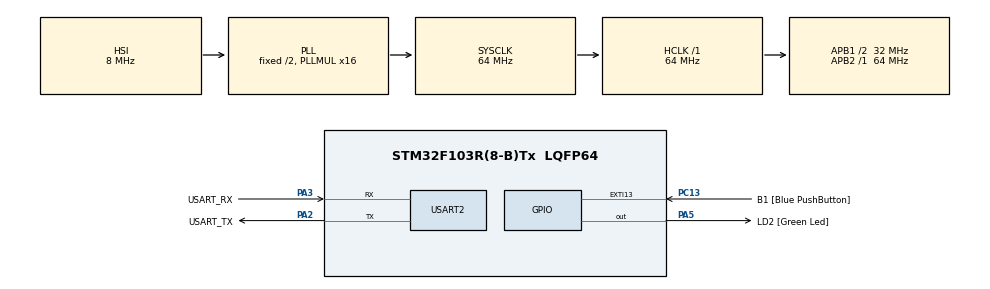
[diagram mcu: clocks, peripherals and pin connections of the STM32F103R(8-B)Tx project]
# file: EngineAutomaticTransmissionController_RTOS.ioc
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FREERTOS.Tasks01=defaultTask,-3,128,StartDefaultTask,Default,NULL,Dynamic,NULL,NULL
FREERTOS.configUSE_NEWLIB_REENTRANT=1
Mcu.Family=STM32F1
Mcu.Name=STM32F103R(8-B)Tx
Mcu.Package=LQFP64
NVIC.EXTI15_10_IRQn=true\:5\:0\:false\:false\:true\:true\:true\:true\:true
NVIC.PriorityGroup=NVIC_PRIORITYGROUP_4
NVIC.TIM4_IRQn=true\:15\:0\:false\:false\:true\:false\:false\:true\:true
NVIC.TimeBase=TIM4_IRQn
NVIC.TimeBaseIP=TIM4
PA13.GPIO_Label=TMS
PA13.Mode=Serial_Wire
PA13.Signal=SYS_JTMS-SWDIO
PA14.GPIO_Label=TCK
PA14.Mode=Serial_Wire
PA14.Signal=SYS_JTCK-SWCLK
PA2.GPIO_Label=USART_TX
PA2.GPIO_Mode=GPIO_MODE_AF_PP
PA2.GPIO_PuPd=GPIO_NOPULL
PA2.GPIO_Speed=GPIO_SPEED_FREQ_LOW
PA2.Mode=Asynchronous
PA2.Signal=USART2_TX
PA3.GPIO_Label=USART_RX
PA3.GPIO_Mode=GPIO_MODE_AF_PP
PA3.GPIO_PuPd=GPIO_NOPULL
PA3.GPIO_Speed=GPIO_SPEED_FREQ_LOW
PA3.Mode=Asynchronous
PA3.Signal=USART2_RX
PA5.GPIO_Label=LD2 [Green Led]
PA5.GPIO_ModeDefaultOutputPP=GPIO_MODE_OUTPUT_PP
PA5.GPIO_PuPd=GPIO_NOPULL
PA5.GPIO_Speed=GPIO_SPEED_FREQ_LOW
PA5.Signal=GPIO_Output
PB3.GPIO_Label=SWO
PB3.Signal=SYS_JTDO-TRACESWO
PC13-TAMPER-RTC.GPIO_Label=B1 [Blue PushButton]
PC13-TAMPER-RTC.GPIO_PuPd=GPIO_NOPULL
PC13-TAMPER-RTC.Signal=GPXTI13
PC14-OSC32_IN.Mode=LSE-External-Oscillator
PC14-OSC32_IN.Signal=RCC_OSC32_IN
PC15-OSC32_OUT.Mode=LSE-External-Oscillator
PC15-OSC32_OUT.Signal=RCC_OSC32_OUT
PD0-OSC_IN.Mode=HSE-External-Clock-Source
PD0-OSC_IN.Signal=RCC_OSC_IN
PD1-OSC_OUT.Mode=HSE-External-Clock-Source
PD1-OSC_OUT.Signal=RCC_OSC_OUT
ProjectManager.HeapSize=0x200
ProjectManager.StackSize=0x400
ProjectManager.TargetToolchain=STM32CubeIDE
RCC.AHBFreq_Value=64000000
RCC.APB1CLKDivider=RCC_HCLK_DIV2
RCC.APB1Freq_Value=32000000
RCC.APB1TimFreq_Value=64000000
RCC.APB2Freq_Value=64000000
RCC.APB2TimFreq_Value=64000000
RCC.HCLKFreq_Value=64000000
RCC.PLLMUL=RCC_PLL_MUL16
RCC.RTCClockSelection=RCC_RTCCLKSOURCE_LSE
RCC.SYSCLKFreq_VALUE=64000000
RCC.SYSCLKSource=RCC_SYSCLKSOURCE_PLLCLK
RCC.USBFreq_Value=64000000
USART2.VirtualMode=VM_ASYNC
VP_FREERTOS_VS_CMSIS_V1.Mode=CMSIS_V1
VP_SYS_VS_tim4.Mode=TIM4
board=NUCLEO-F103RB

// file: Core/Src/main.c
/* USER CODE BEGIN Header */
/**
  ******************************************************************************
  * @file           : main.c
  * @brief          : Main program body
  ******************************************************************************
  * @attention
  *
  * Copyright (c) 2024 STMicroelectronics.
  * All rights reserved.
  *
  * This software is licensed under terms that can be found in the LICENSE file
  * in the root directory of this software component.
  * If no LICENSE file comes with this software, it is provided AS-IS.
  *
  ******************************************************************************
  */
/* USER CODE END Header */

#include "main.h"
#include "cmsis_os.h"

/* USER CODE BEGIN Includes */

#include "libraries.h"
#include "main.h"
#include "GPIO.h"
#include "TIMER.h"
#include "ADC.h"
#include "UART.h"
#include "MATRIX_KEYPAD.h"
#include "LCD.h"
#include "LEDS.h"

/* Model's header file */

#include "EngTrModel.h"
#include "rtwtypes.h"

/* USER CODE END Includes */

/* USER CODE BEGIN PD */

#define STACK_SIZE	128

#define PERIOD_TASK_1	2
#define PERIOD_TASK_2	8
#define PERIOD_TASK_3	10
#define PERIOD_TASK_4	12
#define PERIOD_TASK_5	600

#define TICK_DIFF_TASK_1	(osKernelSysTick() - (PERIOD_TASK_1 * counter++))
#define TICK_DIFF_TASK_2	(osKernelSysTick() - (PERIOD_TASK_2 * counter++))
#define TICK_DIFF_TASK_3	(osKernelSysTick() - (PERIOD_TASK_3 * counter++))
#define TICK_DIFF_TASK_4	(osKernelSysTick() - (PERIOD_TASK_4 * counter++))
#define TICK_DIFF_TASK_5	(osKernelSysTick() - (PERIOD_TASK_5 * counter++))

/* USER CODE END PD */

UART_HandleTypeDef huart2;

/* USER CODE BEGIN PV */

// Tasks

osThreadId Task1Handle;
osThreadId Task2Handle;
osThreadId Task3Handle;
osThreadId Task4Handle;
osThreadId Task5Handle;

// Matrix keypad

char selectedKey = 'N';
float keyBrakeTorque = 0.0;

// ADC

uint16_t conversionData = 0;
float voltageValue = 0.0, potentiometerThrottle = 0.0;

// UART

uint8_t receivedThrottle = 0;

// Mode select

uint8_t operationMode = 0;

// Data format

int ThrottleWhole = 0;
int ThrottleDecimal = 0;

int VehicleSpeedWhole = 0;
int VehicleSpeedDecimal = 0;

int EngineSpeedWhole = 0;
int EngineSpeedDecimal = 0;

int BrakeWhole = 0;
int GearWhole = 0;

// LCD

char FirstLine_LCD_MSG[LCD_CHARS + 1];
char SecondLine_LCD_MSG[LCD_CHARS + 1];

/* USER CODE END PV */

void SystemClock_Config( void );
static void MX_GPIO_Init( void );
static void MX_USART2_UART_Init( void );
void StartDefaultTask( void const * argument );

/* USER CODE BEGIN PFP */

void TASK_1_MATRIX_KEYPAD_Read( void const * argument );
void TASK_2_ADC_Read( void const * argument );
void TASK_3_MODEL_Step( void const * argument );
void TASK_4_UART_Use( void const * argument );
void TASK_5_LCD_Write( void const * argument );

/* USER CODE END PFP */

int main(void)
{

  /* MCU Configuration--------------------------------------------------------*/

  /* Reset of all peripherals, Initializes the Flash interface and the Systick. */

  HAL_Init();

  /* Configure the system clock */

  SystemClock_Config();

  /* Initialize all configured peripherals */

  MX_GPIO_Init();
  MX_USART2_UART_Init();

  /* Create the thread(s) */
  /* definition and creation of defaultTask */

  /* USER CODE BEGIN RTOS_THREADS */

  osThreadDef(Task2, TASK_2_ADC_Read, osPriorityHigh, 0, 128);
  Task2Handle = osThreadCreate(osThread(Task2), NULL);

  osThreadDef(Task4, TASK_4_UART_Use, osPriorityNormal, 0, 256);
  Task4Handle = osThreadCreate(osThread(Task4), NULL);

  osThreadDef(Task5, TASK_5_LCD_Write, osPriorityBelowNormal, 0, 128);
  Task5Handle = osThreadCreate(osThread(Task5), NULL);

  osThreadDef(Task3, TASK_3_MODEL_Step, osPriorityAboveNormal, 0, 128);
  Task3Handle = osThreadCreate(osThread(Task3), NULL);

  osThreadDef(Task1, TASK_1_MATRIX_KEYPAD_Read, osPriorityRealtime, 0, 128);
  Task1Handle = osThreadCreate(osThread(Task1), NULL);

  /* USER CODE END RTOS_THREADS */

  /* Start scheduler */

  osKernelStart();

  /* We should never get here as control is now taken by the scheduler */
  /* Infinite loop */
  while (1)
  {

  }
}

void SystemClock_Config(void)
{
  RCC_OscInitTypeDef RCC_OscInitStruct = {0};
  RCC_ClkInitTypeDef RCC_ClkInitStruct = {0};

  /** Initializes the RCC Oscillators according to the specified parameters
  * in the RCC_OscInitTypeDef structure.
  */
  RCC_OscInitStruct.OscillatorType = RCC_OSCILLATORTYPE_HSI;
  RCC_OscInitStruct.HSIState = RCC_HSI_ON;
  RCC_OscInitStruct.HSICalibrationValue = RCC_HSICALIBRATION_DEFAULT;
  RCC_OscInitStruct.PLL.PLLState = RCC_PLL_ON;
  RCC_OscInitStruct.PLL.PLLSource = RCC_PLLSOURCE_HSI_DIV2;
  RCC_OscInitStruct.PLL.PLLMUL = RCC_PLL_MUL16;
  if (HAL_RCC_OscConfig(&RCC_OscInitStruct) != HAL_OK)
  {
    Error_Handler();
  }

  /** Initializes the CPU, AHB and APB buses clocks
  */
  RCC_ClkInitStruct.ClockType = RCC_CLOCKTYPE_HCLK|RCC_CLOCKTYPE_SYSCLK
                              |RCC_CLOCKTYPE_PCLK1|RCC_CLOCKTYPE_PCLK2;
  RCC_ClkInitStruct.SYSCLKSource = RCC_SYSCLKSOURCE_PLLCLK;
  RCC_ClkInitStruct.AHBCLKDivider = RCC_SYSCLK_DIV1;
  RCC_ClkInitStruct.APB1CLKDivider = RCC_HCLK_DIV2;
  RCC_ClkInitStruct.APB2CLKDivider = RCC_HCLK_DIV1;

  if (HAL_RCC_ClockConfig(&RCC_ClkInitStruct, FLASH_LATENCY_2) != HAL_OK)
  {
    Error_Handler();
  }
}

static void MX_USART2_UART_Init(void)
{

  huart2.Instance = USART2;
  huart2.Init.BaudRate = 115200;
  huart2.Init.WordLength = UART_WORDLENGTH_8B;
  huart2.Init.StopBits = UART_STOPBITS_1;
  huart2.Init.Parity = UART_PARITY_NONE;
  huart2.Init.Mode = UART_MODE_TX_RX;
  huart2.Init.HwFlowCtl = UART_HWCONTROL_NONE;
  huart2.Init.OverSampling = UART_OVERSAMPLING_16;
  if (HAL_UART_Init(&huart2) != HAL_OK)
  {
    Error_Handler();
  }

}

static void MX_GPIO_Init(void)
{
  GPIO_InitTypeDef GPIO_InitStruct = {0};

  /* GPIO Ports Clock Enable */
  __HAL_RCC_GPIOC_CLK_ENABLE();
  __HAL_RCC_GPIOD_CLK_ENABLE();
  __HAL_RCC_GPIOA_CLK_ENABLE();
  __HAL_RCC_GPIOB_CLK_ENABLE();

  /*Configure GPIO pin Output Level */
  HAL_GPIO_WritePin(LD2_GPIO_Port, LD2_Pin, GPIO_PIN_RESET);

  /*Configure GPIO pin : B1_Pin */
  GPIO_InitStruct.Pin = B1_Pin;
  GPIO_InitStruct.Mode = GPIO_MODE_IT_RISING;
  GPIO_InitStruct.Pull = GPIO_NOPULL;
  HAL_GPIO_Init(B1_GPIO_Port, &GPIO_InitStruct);

  /*Configure GPIO pin : LD2_Pin */
  GPIO_InitStruct.Pin = LD2_Pin;
  GPIO_InitStruct.Mode = GPIO_MODE_OUTPUT_PP;
  GPIO_InitStruct.Pull = GPIO_NOPULL;
  GPIO_InitStruct.Speed = GPIO_SPEED_FREQ_LOW;
  HAL_GPIO_Init(LD2_GPIO_Port, &GPIO_InitStruct);

  /* EXTI interrupt init*/
  HAL_NVIC_SetPriority(EXTI15_10_IRQn, 5, 0);
  HAL_NVIC_EnableIRQ(EXTI15_10_IRQn);

}

/* USER CODE BEGIN 4 */

// Tasks

/* Read the matrix keyboard and
 * adapt the brake value, LEDs states,
 * and operation mode
 * based on the selected key.
 */

void TASK_1_MATRIX_KEYPAD_Read( void const * argument )
{
  USER_USART_Init( USART_1 );
  EngTrModel_initialize();

  USER_MATRIX_KEYPAD_Init();
  USER_LEDS_Init();

  uint32_t counter = 0;

  /* Infinite loop */

  for(;;)
  {
    selectedKey = USER_MATRIX_KEYPAD_Read();

    if(selectedKey == '5')							// Brake action
    {
      keyBrakeTorque = 100.0;							// Full brake torque

      USER_TIM_Delay( TIM_3, TIM_PSC_200MS, TIM_CNT_200MS );			// LEDs blinking
    }
    else if(selectedKey == '4' || selectedKey == '6')				// Left or right action
    {
      keyBrakeTorque = 50.0;							// Half brake torque

      if(selectedKey == '4')							// Left action
      {
	USER_GPIO_Write( PORTC, 3, 1 );						// Left LED turned on
      }
      else									// Right action
      {
	USER_GPIO_Write( PORTC, 2, 1 );						// Right LED turned on
      }
    }
    else if(selectedKey == 'A')							// Select manual mode action
    {
      operationMode = 0;							// Manual mode
    }
    else if(selectedKey == 'B')							// Select simulation mode action
    {
      operationMode = 1;							// Simulation mode
    }
    else									// No action
    {
      keyBrakeTorque = 0.0;							// No brake torque

      USER_GPIO_Write( PORTC, 2, 0 );						// LEDs turned off
      USER_GPIO_Write( PORTC, 3, 0 );
    }

    osDelay(PERIOD_TASK_1 - TICK_DIFF_TASK_1);
  }
}

/* Read the ADC conversion, convert it to a voltage value,
 * and normalize it to within the range accepted by the model,
 * this for manual mode.
 */

void TASK_2_ADC_Read( void const * argument )
{
  USER_ADC_Init( ADC_1 );

  uint32_t counter = 0;

  /* Infinite loop */

  for(;;)
  {
    conversionData = USER_ADC_Convert( ADC_1 );
    voltageValue = 0.00080586 * conversionData;
    potentiometerThrottle = scaleVoltageValue( voltageValue, 0, 3.3 );

    osDelay(PERIOD_TASK_2 - TICK_DIFF_TASK_2);
  }
}

/* Feed the model with the throttle value
 * and the brake value, take a step and
 * sanitize the output values.
 */

void TASK_3_MODEL_Step( void const * argument )
{
  uint32_t counter = 0;

  /* Infinite loop */

  for(;;)
  {
    if(operationMode == 0)							// Manual mode
    {
      EngTrModel_U.Throttle = potentiometerThrottle;				// Model feed with potentiometer throttle value
    }
    else									// Simulation mode
    {
      EngTrModel_U.Throttle = (float) receivedThrottle;				// Model feed with received throttle value
    }

    EngTrModel_U.BrakeTorque = keyBrakeTorque;					// Model feed with brake value

    EngTrModel_step();								// Take a step

    // Sanitize the output values

    if(isnan(EngTrModel_Y.VehicleSpeed) || EngTrModel_Y.VehicleSpeed < 0 || EngTrModel_Y.VehicleSpeed > 200)
    {
      EngTrModel_Y.VehicleSpeed = 0.0;
    }

    if(isnan(EngTrModel_Y.EngineSpeed) || EngTrModel_Y.EngineSpeed < 0)
    {
      EngTrModel_Y.EngineSpeed = 0.0;
    }

    if(isnan(EngTrModel_Y.Gear) || EngTrModel_Y.Gear < 0)
    {
      EngTrModel_Y.Gear = 0.0;
    }

    osDelay(PERIOD_TASK_3 - TICK_DIFF_TASK_3);
  }
}

/* Send via UART the output values of the model,
 * subsequently received by the Raspberry Pi and
 * read the throttle value sent via UART by the Raspeberry Pi
 * for simulation mode.
 */

void TASK_4_UART_Use( void const * argument )
{
  uint32_t counter = 0;

  /* Infinite loop */

  for(;;)
  {
    printf("%f,%f,%f,%f,%f\n\r", potentiometerThrottle, keyBrakeTorque, EngTrModel_Y.VehicleSpeed, EngTrModel_Y.EngineSpeed, EngTrModel_Y.Gear);

    if( USART1->SR & USART_SR_RXNE )						// If USART_DR is not empty
    {
      receivedThrottle = USART1->DR;						// Receive data
    }

    osDelay(PERIOD_TASK_4 - TICK_DIFF_TASK_4);
  }
}

/* Properly format the model output data
 * and display it on the LCD
 */

void TASK_5_LCD_Write( void const * argument )
{
  USER_TIM_Init( TIM_2 );
  USER_LCD_Init();

  uint32_t counter = 0;

  /* Infinite loop */

  for(;;)
  {
    /* Extract the whole and decimal parts for Throttle,
     * Engine Speed and Vehicle Speed, and cast them
     * alongside Brake and Gear to integers.
     */

    if(operationMode == 0)
    {
      ThrottleWhole = (int) ( potentiometerThrottle );
      ThrottleDecimal = (int) ( ( potentiometerThrottle - ThrottleWhole ) * 100 );
    }
    else
    {
      ThrottleWhole = (int) ( receivedThrottle );
      ThrottleDecimal = 0;
    }

    VehicleSpeedWhole = (int)( EngTrModel_Y.VehicleSpeed );
    VehicleSpeedDecimal = (int)( ( EngTrModel_Y.VehicleSpeed - VehicleSpeedWhole ) * 100 );

    EngineSpeedWhole = (int)( EngTrModel_Y.EngineSpeed );
    EngineSpeedDecimal = (int)( ( EngTrModel_Y.EngineSpeed - EngineSpeedWhole ) * 100 );

    BrakeWhole = (int) ( keyBrakeTorque );
    GearWhole = (int) ( EngTrModel_Y.Gear );

    // Write the messages to send to the LCD

    snprintf( FirstLine_LCD_MSG, sizeof(FirstLine_LCD_MSG), "%03d.%01d  %03d.%01d m/s", ThrottleWhole, ThrottleDecimal / 10, VehicleSpeedWhole, VehicleSpeedDecimal / 10 );
    snprintf( SecondLine_LCD_MSG, sizeof(SecondLine_LCD_MSG), "%03d %01d %04d.%01d RPM", BrakeWhole, GearWhole, EngineSpeedWhole, EngineSpeedDecimal / 10 );

    // Display values on the LCD

    LCD_Set_Cursor( 1, 1 );
    LCD_Put_Str( FirstLine_LCD_MSG );
    LCD_Set_Cursor( 2, 1 );
    LCD_Put_Str( SecondLine_LCD_MSG );

    osDelay(PERIOD_TASK_5 - TICK_DIFF_TASK_5);
  }
}

/* USER CODE END 4 */

void HAL_TIM_PeriodElapsedCallback(TIM_HandleTypeDef *htim)
{
  if (htim->Instance == TIM4) {
    HAL_IncTick();
  }
}

void Error_Handler(void)
{
  __disable_irq();
  while (1)
  {
  }
}
